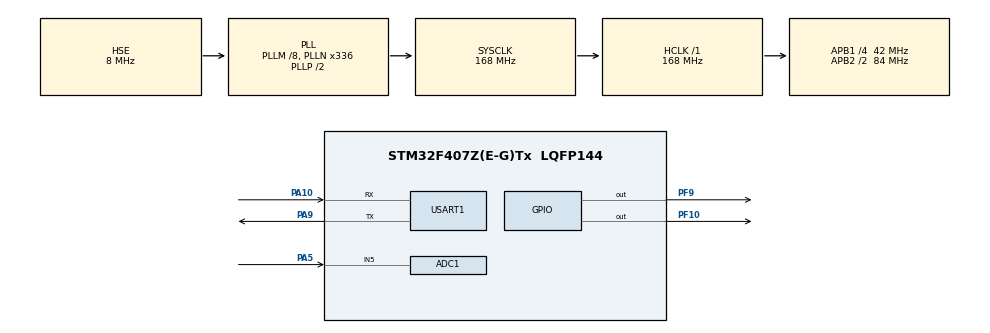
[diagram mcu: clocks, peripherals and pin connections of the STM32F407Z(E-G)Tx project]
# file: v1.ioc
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ADC1.Channel-0\#ChannelRegularConversion=ADC_CHANNEL_5
ADC1.ExternalTrigConv=ADC_EXTERNALTRIGCONV_T2_TRGO
ADC1.NbrOfConversionFlag=1
ADC1.Rank-0\#ChannelRegularConversion=1
ADC1.SamplingTime-0\#ChannelRegularConversion=ADC_SAMPLETIME_3CYCLES
ADC1.master=1
Mcu.Family=STM32F4
Mcu.Name=STM32F407Z(E-G)Tx
Mcu.Package=LQFP144
NVIC.PriorityGroup=NVIC_PRIORITYGROUP_4
PA10.Mode=Asynchronous
PA10.Signal=USART1_RX
PA13.Mode=Serial_Wire
PA13.Signal=SYS_JTMS-SWDIO
PA14.Mode=Serial_Wire
PA14.Signal=SYS_JTCK-SWCLK
PA5.Signal=ADCx_IN5
PA9.Mode=Asynchronous
PA9.Signal=USART1_TX
PF10.PinState=GPIO_PIN_SET
PF10.Signal=GPIO_Output
PF9.PinState=GPIO_PIN_SET
PF9.Signal=GPIO_Output
PH0-OSC_IN.Mode=HSE-External-Oscillator
PH0-OSC_IN.Signal=RCC_OSC_IN
PH1-OSC_OUT.Mode=HSE-External-Oscillator
PH1-OSC_OUT.Signal=RCC_OSC_OUT
ProjectManager.HeapSize=0x200
ProjectManager.StackSize=0x400
ProjectManager.TargetToolchain=MDK-ARM V5.27
RCC.48MHZClocksFreq_Value=84000000
RCC.AHBFreq_Value=168000000
RCC.APB1CLKDivider=RCC_HCLK_DIV4
RCC.APB1Freq_Value=42000000
RCC.APB1TimFreq_Value=84000000
RCC.APB2CLKDivider=RCC_HCLK_DIV2
RCC.APB2Freq_Value=84000000
RCC.APB2TimFreq_Value=168000000
RCC.CortexFreq_Value=168000000
RCC.HCLKFreq_Value=168000000
RCC.HSE_VALUE=8000000
RCC.HSI_VALUE=16000000
RCC.LSE_VALUE=32768
RCC.PLLM=8
RCC.PLLN=336
RCC.PLLSourceVirtual=RCC_PLLSOURCE_HSE
RCC.SYSCLKFreq_VALUE=168000000
RCC.SYSCLKSource=RCC_SYSCLKSOURCE_PLLCLK
RCC.VCOOutputFreq_Value=336000000
SH.ADCx_IN5.0=ADC1_IN5,IN5
TIM2.Period=999
TIM2.Prescaler=8399
TIM2.TIM_MasterOutputTrigger=TIM_TRGO_UPDATE
USART1.VirtualMode=VM_ASYNC
VP_TIM2_VS_ClockSourceINT.Mode=Internal
board=custom

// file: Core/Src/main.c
/* USER CODE BEGIN Header */
/**
  ******************************************************************************
  * @file           : main.c
  * @brief          : Main program body
  ******************************************************************************
  * @attention
  *
  * Copyright (c) 2026 STMicroelectronics.
  * All rights reserved.
  *
  * This software is licensed under terms that can be found in the LICENSE file
  * in the root directory of this software component.
  * If no LICENSE file comes with this software, it is provided AS-IS.
  *
  ******************************************************************************
  */
/* USER CODE END Header */
#include "main.h"
#include "adc.h"
#include "tim.h"
#include "usart.h"
#include "gpio.h"

/* USER CODE BEGIN Includes */
#include <stdio.h>
/* USER CODE END Includes */

/* USER CODE BEGIN PV */
static uint8_t boot_message[]= "\r\n[boot] ReliableDAQ v0.1\r\n";
static char log_buffer[80];
volatile uint32_t g_hearbeat=0U;

static char adc_log[96];
static uint32_t adc_last_tick=0U;

volatile uint32_t g_adc_raw=0;
volatile uint32_t g_adc_mv=0;
volatile uint32_t g_adc_count=0U;
volatile uint32_t g_adc_dt_ms=0U;
volatile uint32_t g_adc_overrun=0U;

volatile HAL_StatusTypeDef g_adc_status=HAL_OK;
volatile HAL_StatusTypeDef g_tim_status=HAL_OK;

/* USER CODE END PV */

void SystemClock_Config(void);

int main(void)
{

  /* MCU Configuration--------------------------------------------------------*/

  /* Reset of all peripherals, Initializes the Flash interface and the Systick. */
  HAL_Init();

  /* Configure the system clock */
  SystemClock_Config();

  /* Initialize all configured peripherals */
  MX_GPIO_Init();
  MX_USART1_UART_Init();
  MX_ADC1_Init();
  MX_TIM2_Init();
  /* USER CODE BEGIN 2 */
	__HAL_TIM_SET_COUNTER(&htim2,0U);
	__HAL_TIM_CLEAR_FLAG(&htim2,TIM_FLAG_UPDATE);

	g_adc_status=HAL_ADC_Start(&hadc1);

	if(g_adc_status!=HAL_OK)
	{
		Error_Handler();
	}

	g_tim_status=HAL_TIM_Base_Start(&htim2);

	if (g_tim_status != HAL_OK)
  {
    (void)HAL_ADC_Stop(&hadc1);
    Error_Handler();
  }

  if(HAL_UART_Transmit(&huart1,boot_message,(uint16_t)(sizeof(boot_message)-1U),100U)!=HAL_OK)
	{
		Error_Handler();
	}
  /* USER CODE END 2 */

  /* Infinite loop */
  while (1)
  {

    /* USER CODE BEGIN 3 */
		int length;

		uint32_t now;

		g_adc_status=HAL_ADC_PollForConversion(&hadc1,200U);

		HAL_GPIO_TogglePin(GPIOF,GPIO_PIN_9);

		if(g_adc_status!=HAL_OK)
		{
			(void)HAL_TIM_Base_Stop(&htim2);
			(void)HAL_ADC_Stop(&hadc1);
			Error_Handler();
		}

    HAL_Delay(500U);
  }
  /* USER CODE END 3 */
}

void SystemClock_Config(void)
{
  RCC_OscInitTypeDef RCC_OscInitStruct = {0};
  RCC_ClkInitTypeDef RCC_ClkInitStruct = {0};

  /** Configure the main internal regulator output voltage
  */
  __HAL_RCC_PWR_CLK_ENABLE();
  __HAL_PWR_VOLTAGESCALING_CONFIG(PWR_REGULATOR_VOLTAGE_SCALE1);

  /** Initializes the RCC Oscillators according to the specified parameters
  * in the RCC_OscInitTypeDef structure.
  */
  RCC_OscInitStruct.OscillatorType = RCC_OSCILLATORTYPE_HSE;
  RCC_OscInitStruct.HSEState = RCC_HSE_ON;
  RCC_OscInitStruct.PLL.PLLState = RCC_PLL_ON;
  RCC_OscInitStruct.PLL.PLLSource = RCC_PLLSOURCE_HSE;
  RCC_OscInitStruct.PLL.PLLM = 8;
  RCC_OscInitStruct.PLL.PLLN = 336;
  RCC_OscInitStruct.PLL.PLLP = RCC_PLLP_DIV2;
  RCC_OscInitStruct.PLL.PLLQ = 4;
  if (HAL_RCC_OscConfig(&RCC_OscInitStruct) != HAL_OK)
  {
    Error_Handler();
  }

  /** Initializes the CPU, AHB and APB buses clocks
  */
  RCC_ClkInitStruct.ClockType = RCC_CLOCKTYPE_HCLK|RCC_CLOCKTYPE_SYSCLK
                              |RCC_CLOCKTYPE_PCLK1|RCC_CLOCKTYPE_PCLK2;
  RCC_ClkInitStruct.SYSCLKSource = RCC_SYSCLKSOURCE_PLLCLK;
  RCC_ClkInitStruct.AHBCLKDivider = RCC_SYSCLK_DIV1;
  RCC_ClkInitStruct.APB1CLKDivider = RCC_HCLK_DIV4;
  RCC_ClkInitStruct.APB2CLKDivider = RCC_HCLK_DIV2;

  if (HAL_RCC_ClockConfig(&RCC_ClkInitStruct, FLASH_LATENCY_5) != HAL_OK)
  {
    Error_Handler();
  }
}

void Error_Handler(void)
{
  __disable_irq();
  while (1)
  {
  }
}
